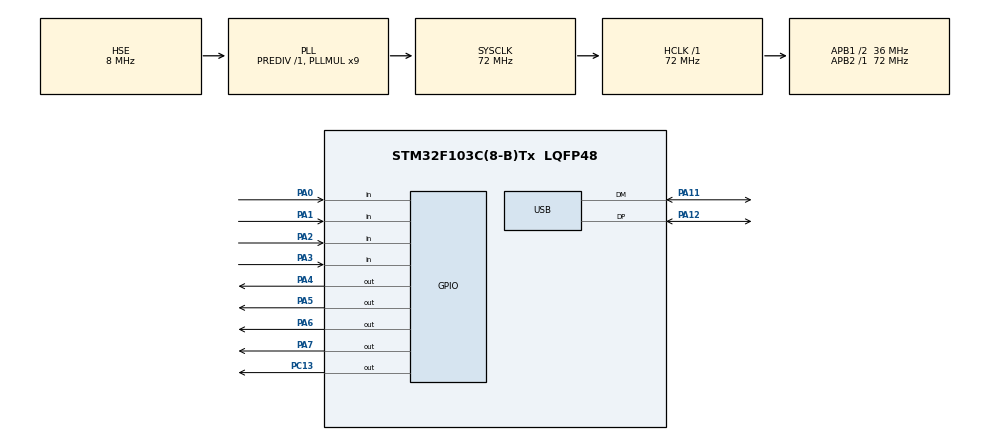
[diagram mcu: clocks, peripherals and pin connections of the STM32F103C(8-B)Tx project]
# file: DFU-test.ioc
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Mcu.Family=STM32F1
Mcu.Name=STM32F103C(8-B)Tx
Mcu.Package=LQFP48
NVIC.PriorityGroup=NVIC_PRIORITYGROUP_4
NVIC.USB_LP_CAN1_RX0_IRQn=true\:0\:0\:false\:false\:true\:false\:true\:true
PA0-WKUP.GPIO_PuPd=GPIO_PULLUP
PA0-WKUP.Signal=GPIO_Input
PA1.GPIO_PuPd=GPIO_PULLUP
PA1.Signal=GPIO_Input
PA11.Mode=Device
PA11.Signal=USB_DM
PA12.Mode=Device
PA12.Signal=USB_DP
PA13.Mode=Serial_Wire
PA13.Signal=SYS_JTMS-SWDIO
PA14.Mode=Serial_Wire
PA14.Signal=SYS_JTCK-SWCLK
PA2.GPIO_PuPd=GPIO_PULLUP
PA2.Signal=GPIO_Input
PA3.GPIO_PuPd=GPIO_PULLUP
PA3.Signal=GPIO_Input
PA4.GPIO_PuPd=GPIO_NOPULL
PA4.GPIO_Speed=GPIO_SPEED_FREQ_HIGH
PA4.PinState=GPIO_PIN_RESET
PA4.Signal=GPIO_Output
PA5.GPIO_PuPd=GPIO_NOPULL
PA5.GPIO_Speed=GPIO_SPEED_FREQ_HIGH
PA5.PinState=GPIO_PIN_RESET
PA5.Signal=GPIO_Output
PA6.GPIO_PuPd=GPIO_NOPULL
PA6.GPIO_Speed=GPIO_SPEED_FREQ_HIGH
PA6.PinState=GPIO_PIN_RESET
PA6.Signal=GPIO_Output
PA7.GPIO_PuPd=GPIO_NOPULL
PA7.GPIO_Speed=GPIO_SPEED_FREQ_HIGH
PA7.PinState=GPIO_PIN_RESET
PA7.Signal=GPIO_Output
PC13-TAMPER-RTC.PinState=GPIO_PIN_SET
PC13-TAMPER-RTC.Signal=GPIO_Output
PD0-OSC_IN.Mode=HSE-External-Oscillator
PD0-OSC_IN.Signal=RCC_OSC_IN
PD1-OSC_OUT.Mode=HSE-External-Oscillator
PD1-OSC_OUT.Signal=RCC_OSC_OUT
ProjectManager.HeapSize=0x200
ProjectManager.StackSize=0x400
ProjectManager.TargetToolchain=CMake
RCC.AHBFreq_Value=72000000
RCC.APB1CLKDivider=RCC_HCLK_DIV2
RCC.APB1Freq_Value=36000000
RCC.APB1TimFreq_Value=72000000
RCC.APB2Freq_Value=72000000
RCC.APB2TimFreq_Value=72000000
RCC.HCLKFreq_Value=72000000
RCC.PLLMUL=RCC_PLL_MUL9
RCC.PLLSourceVirtual=RCC_PLLSOURCE_HSE
RCC.SYSCLKFreq_VALUE=72000000
RCC.SYSCLKSource=RCC_SYSCLKSOURCE_PLLCLK
RCC.USBFreq_Value=48000000
RCC.USBPrescaler=RCC_USBCLKSOURCE_PLL_DIV1_5
USB_DEVICE.CLASS_NAME_FS=DFU
USB_DEVICE.USBD_DFU_APP_DEFAULT_ADD=0x08004000
USB_DEVICE.USBD_DFU_MEDIA=@Application /0x08004000/48*001Kg
USB_DEVICE.VirtualMode=Dfu
USB_DEVICE.VirtualModeFS=Dfu_FS
VP_USB_DEVICE_VS_USB_DEVICE_DFU_FS.Mode=DFU_FS
board=custom

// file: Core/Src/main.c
/* USER CODE BEGIN Header */
/**
 ******************************************************************************
 * @file           : main.c
 * @brief          : Main program body
 ******************************************************************************
 * @attention
 *
 * Copyright (c) 2025 STMicroelectronics.
 * All rights reserved.
 *
 * This software is licensed under terms that can be found in the LICENSE file
 * in the root directory of this software component.
 * If no LICENSE file comes with this software, it is provided AS-IS.
 *
 ******************************************************************************
 */
/* USER CODE END Header */
#include "main.h"
#include "usb_device.h"
#include "gpio.h"

/* USER CODE BEGIN PV */

#define APPLICATION_START_ADDRESS 0x08004000U // 应用程序的起始地址
#define APPLICATION_END_ADDRESS 0x0800FFFFU   // 应用程序的结束地址

// 1. 定义函数指针类型：无参数，无返回值
typedef void (*pFunction)(void);

// 2. 定义跳转变量
pFunction JumpToApplication;
uint32_t JumpAddress;

/* USER CODE END PV */

void SystemClock_Config(void);

/* USER CODE BEGIN 0 */

void Go_To_App(void)
{
  // 1. 检查 App 地址是否合法 (检查栈顶指针是否在 RAM 范围内)
  // STM32F1 的 RAM 通常从 0x20000000 开始
  if (((*(uint32_t *)APPLICATION_START_ADDRESS) & 0x2FFE0000) == 0x20000000)
  {
    // [A] 关中断，防止跳转途中被打断
    __disable_irq();

    // [B] 准备跳转地址 (从 App 的中断向量表里取复位中断地址)
    JumpAddress = *(uint32_t *)(APPLICATION_START_ADDRESS + 4);
    JumpToApplication = (pFunction)JumpAddress;

    // [C] 设置主堆栈指针 (MSP)
    __set_MSP(*(uint32_t *)APPLICATION_START_ADDRESS);

    // [D] 彻底复位外设 (这步很重要，把车清理干净给主程序)
    HAL_RCC_DeInit();
    HAL_DeInit();

    // [E] 重新开中断 (交给 App 去处理)
    __enable_irq();

    // [F] 跳转！
    JumpToApplication();
  }
}

uint8_t Get_Low_Pin_Count(void)
{
  uint8_t num = 0;

  // 统计有多少个引脚是低电平
  if (HAL_GPIO_ReadPin(GPIOA, GPIO_PIN_0) == GPIO_PIN_RESET)
    num++;
  if (HAL_GPIO_ReadPin(GPIOA, GPIO_PIN_1) == GPIO_PIN_RESET)
    num++;
  if (HAL_GPIO_ReadPin(GPIOA, GPIO_PIN_2) == GPIO_PIN_RESET)
    num++;
  if (HAL_GPIO_ReadPin(GPIOA, GPIO_PIN_3) == GPIO_PIN_RESET)
    num++;

  return num;
}

/* USER CODE END 0 */

int main(void)
{

  /* MCU Configuration--------------------------------------------------------*/

  /* Reset of all peripherals, Initializes the Flash interface and the Systick. */
  HAL_Init();

  /* Configure the system clock */
  SystemClock_Config();

  /* Initialize all configured peripherals */
  MX_GPIO_Init();
  // MX_USB_DEVICE_Init();
  /* USER CODE BEGIN 2 */

  // === 1. 逻辑判断：PA0~PA3 任意两个被拉低 ===
  uint8_t low_count = Get_Low_Pin_Count();

  // 如果低电平数量 >= 2，进入 DFU 模式
  if (low_count >= 2)
  {
    // [DFU 模式]

    // A. 这时候才初始化 USB！
    MX_USB_DEVICE_Init();

    // B. 进入死循环，闪烁 PC13
    while (1)
    {
      low_count = Get_Low_Pin_Count();

      if(low_count == 3)
      {
        Go_To_App();
      }

      // 假设 PC13 是低电平点亮，这里取反即可
      HAL_GPIO_TogglePin(GPIOC, GPIO_PIN_13);

      // 延时 200ms (USB 是靠中断工作的，这里延时不会影响烧录)
      HAL_Delay(200);
    }
  }
  else
  {
    // [正常模式]

    // A. 不要初始化 USB！

    // B. 直接跳转
    Go_To_App();

    // 如果代码跑到这里，说明跳转失败（没烧程序），
    // 为了防止跑飞，可以也进入一个死循环或闪烁报错
    MX_USB_DEVICE_Init();

    while (1)
    {
      // 可以做个快闪，表示 "没有主程序"
      HAL_GPIO_TogglePin(GPIOC, GPIO_PIN_13);
      HAL_Delay(50);
    }
  }

  /* USER CODE END 2 */

  /* Infinite loop */
  while (1)
  {

  }
}

void SystemClock_Config(void)
{
  RCC_OscInitTypeDef RCC_OscInitStruct = {0};
  RCC_ClkInitTypeDef RCC_ClkInitStruct = {0};
  RCC_PeriphCLKInitTypeDef PeriphClkInit = {0};

  /** Initializes the RCC Oscillators according to the specified parameters
   * in the RCC_OscInitTypeDef structure.
   */
  RCC_OscInitStruct.OscillatorType = RCC_OSCILLATORTYPE_HSE;
  RCC_OscInitStruct.HSEState = RCC_HSE_ON;
  RCC_OscInitStruct.HSEPredivValue = RCC_HSE_PREDIV_DIV1;
  RCC_OscInitStruct.HSIState = RCC_HSI_ON;
  RCC_OscInitStruct.PLL.PLLState = RCC_PLL_ON;
  RCC_OscInitStruct.PLL.PLLSource = RCC_PLLSOURCE_HSE;
  RCC_OscInitStruct.PLL.PLLMUL = RCC_PLL_MUL9;
  if (HAL_RCC_OscConfig(&RCC_OscInitStruct) != HAL_OK)
  {
    Error_Handler();
  }

  /** Initializes the CPU, AHB and APB buses clocks
   */
  RCC_ClkInitStruct.ClockType = RCC_CLOCKTYPE_HCLK | RCC_CLOCKTYPE_SYSCLK | RCC_CLOCKTYPE_PCLK1 | RCC_CLOCKTYPE_PCLK2;
  RCC_ClkInitStruct.SYSCLKSource = RCC_SYSCLKSOURCE_PLLCLK;
  RCC_ClkInitStruct.AHBCLKDivider = RCC_SYSCLK_DIV1;
  RCC_ClkInitStruct.APB1CLKDivider = RCC_HCLK_DIV2;
  RCC_ClkInitStruct.APB2CLKDivider = RCC_HCLK_DIV1;

  if (HAL_RCC_ClockConfig(&RCC_ClkInitStruct, FLASH_LATENCY_2) != HAL_OK)
  {
    Error_Handler();
  }
  PeriphClkInit.PeriphClockSelection = RCC_PERIPHCLK_USB;
  PeriphClkInit.UsbClockSelection = RCC_USBCLKSOURCE_PLL_DIV1_5;
  if (HAL_RCCEx_PeriphCLKConfig(&PeriphClkInit) != HAL_OK)
  {
    Error_Handler();
  }
}

void Error_Handler(void)
{
  __disable_irq();
  while (1)
  {
  }
}
